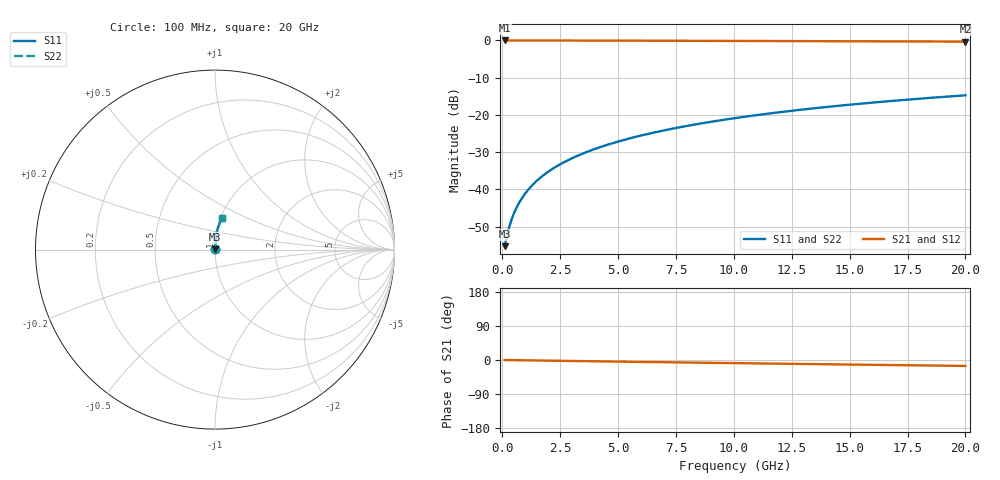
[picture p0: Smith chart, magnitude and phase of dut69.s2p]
! Touchstone file exported from HFSS 2024.1.0
!  File:  C:/UserFiles/LocalFiles/RDL_TSV_Batchsim/temp_RDL_top_69_1778682033.aedt
!  Generated:  10:22:47 PM May 13, 2026
!  Design:  RDL_top
!  Project:  temp_RDL_top_69_1778682033
!  Setup:  Setup1
!  Solution:  Sweep
! Variables:
!  dtsv = 10.80580581um
!  hbump = 3um
!  htsv = 55.44um
!  ldown = 100um
!  lrdl = 192.84um
!  p = 40
!  p1 = 41.37um
!  rhole = 1um
!  t = 450um
!  tdown = 3.915915916um
!  trdl = 3.31um
!  wdown = 15.38538539um
!  wrdl = 16.34um
# GHz S MA R 50.000000
! Terminal data exported
! Port[1] = Box2_T1
! Port[2] = Box2_T2
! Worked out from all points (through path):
!   200 points, 100 MHz to 20 GHz, reference 50 ohm
!   highest |S21| = -0.01 dB at 100 MHz (marker M1); lowest = -0.3 dB at 20 GHz (marker M2)
!   group delay of S21, straight-line fit = 2.16 ps
!   lowest |S11| = -55.2 dB at 100 MHz (marker M3), VSWR 1.00, Z = 50.1 + j0.0927 ohm
!   |S11| at or under -10 dB: start of sweep to end of sweep
!   |S22| runs from -55.2 to -14.7 dB; largest |S21 - S12| = 2.6e-15
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0.1  0.00173 32.3  0.9985 -0.1  0.9985 -0.1  0.00173 32.3
! Gamma 0 0 0 0
! Port Impedance 50 0 50 0
0.2  0.002369 50.8  0.9985 -0.2  0.9985 -0.2  0.002369 50.8
0.3  0.003132 60.5  0.9984 -0.3  0.9984 -0.3  0.003132 60.5
0.4  0.003934 66.2  0.9984 -0.4  0.9984 -0.4  0.003934 66.2
0.5  0.004749 70.0  0.9983 -0.4  0.9983 -0.4  0.004749 70.0
0.6  0.00557 72.7  0.9983 -0.5  0.9983 -0.5  0.00557 72.7
0.8  0.007227 76.3  0.9982 -0.7  0.9982 -0.7  0.007227 76.3
1.1  0.009741 79.6  0.998 -1.0  0.998 -1.0  0.009741 79.6
1.3  0.01143 81.0  0.9979 -1.1  0.9979 -1.1  0.01143 81.0
1.6  0.01399 82.5  0.9977 -1.4  0.9977 -1.4  0.01399 82.5
2.1  0.01828 84.1  0.9973 -1.8  0.9973 -1.8  0.01828 84.1
2.7  0.02348 85.2  0.9968 -2.3  0.9968 -2.3  0.02348 85.2
3.5  0.03049 85.9  0.9959 -3.0  0.9959 -3.0  0.03049 85.9
4.2  0.03669 86.2  0.9949 -3.6  0.9949 -3.6  0.03669 86.2
5  0.04386 86.4  0.9937 -4.3  0.9937 -4.3  0.04386 86.4
5.9  0.05202 86.3  0.9922 -5.0  0.9922 -5.0  0.05202 86.3
6.8  0.06026 86.1  0.9906 -5.7  0.9906 -5.7  0.06026 86.1
8.3  0.07417 85.5  0.9877 -6.9  0.9877 -6.9  0.07417 85.5
10.1  0.09104 84.5  0.9841 -8.3  0.9841 -8.3  0.09104 84.5
13.4  0.1221 82.3  0.9773 -10.8  0.9773 -10.8  0.1221 82.3
16.7  0.1529 79.8  0.9702 -13.3  0.9702 -13.3  0.1529 79.8
20  0.1832 77.2  0.9629 -15.7  0.9629 -15.7  0.1832 77.2
